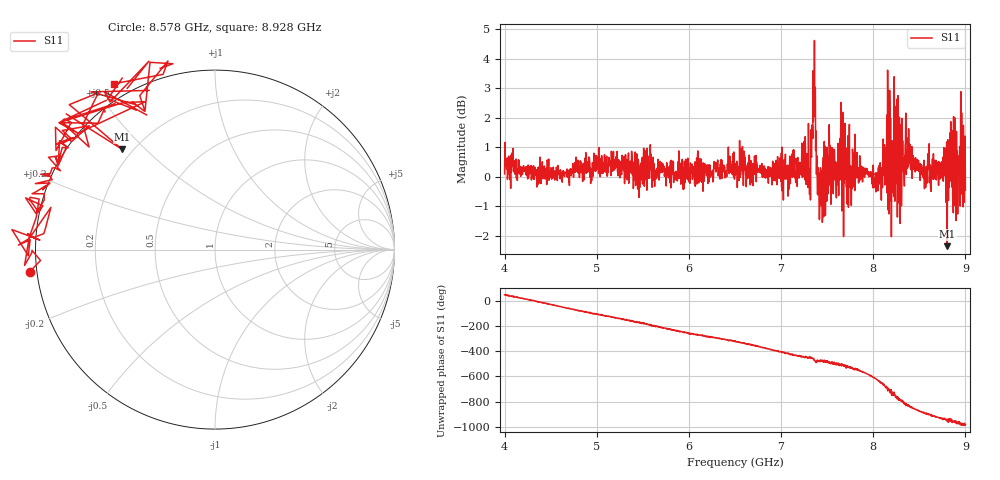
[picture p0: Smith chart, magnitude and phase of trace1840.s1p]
! Created with skrf 1.8.0 (http://scikit-rf.org).
# Hz S RI R 50.0
!freq ReS11 ImS11
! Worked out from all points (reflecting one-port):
!   1601 points, 4 GHz to 9 GHz, reference 50 ohm
!   lowest |S11| = -2.4 dB at 8.803 GHz (marker M1), VSWR 7.41, Z = 8.01 + j21.4 ohm
!   phase of S11 starts at 52 deg and turns -1036 deg over the sweep
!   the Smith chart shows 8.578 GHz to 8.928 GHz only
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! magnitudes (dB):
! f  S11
! 4 GHz  0.1
! 4.625 GHz  -0.2
! 5.25 GHz  0.0
! 5.875 GHz  -0.1
! 6.5 GHz  0.1
! 7.125 GHz  0.1
! 7.294 GHz  -0.4
! 7.319 GHz  -0.8
! 7.347 GHz  3.6
! 7.356 GHz  3.5
! 7.372 GHz  3.0
! 7.4 GHz  -0.1
! 7.428 GHz  0.3
! 7.538 GHz  1.0
! 7.609 GHz  0.1
! 7.65 GHz  2.5
! 7.75 GHz  -0.3
! 8.038 GHz  0.0
! 8.156 GHz  3.6
! 8.197 GHz  -2.0
! 8.247 GHz  0.7
! 8.312 GHz  2.0
! 8.338 GHz  -0.3
! 8.375 GHz  0.5
! 8.556 GHz  -0.4
! 8.803 GHz  -2.4
! 8.972 GHz  0.5
! 9 GHz  -0.5
